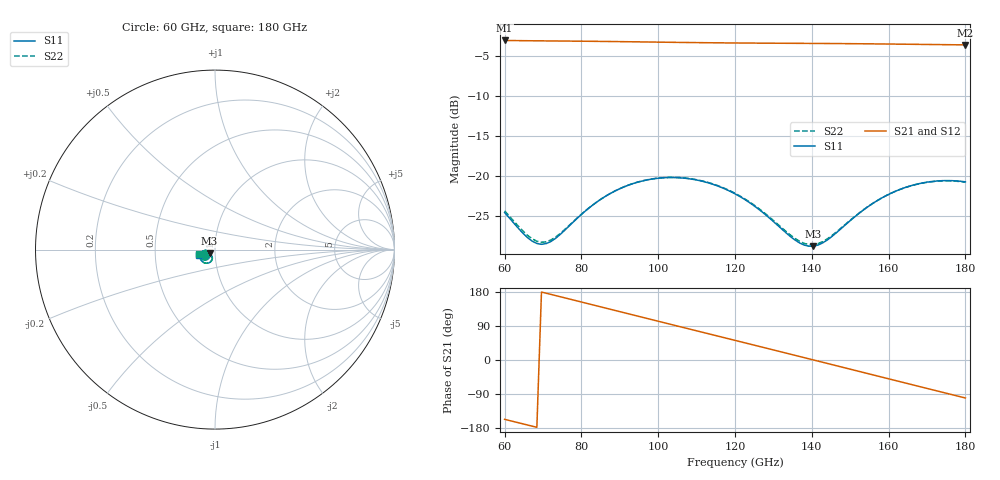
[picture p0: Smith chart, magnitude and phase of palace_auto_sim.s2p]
#  GHZ S DB R 50
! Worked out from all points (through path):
!   101 points, 60 GHz to 180 GHz, reference 50 ohm
!   highest |S21| = -3.08 dB at 60 GHz (marker M1); lowest = -3.6 dB at 180 GHz (marker M2)
!   group delay of S21, straight-line fit = 7.03 ps
!   lowest |S11| = -28.8 dB at 140.4 GHz (marker M3), VSWR 1.08, Z = 47 - j1.85 ohm
!   |S11| at or under -10 dB: start of sweep to end of sweep
!   |S22| runs from -28.6 to -20.2 dB; largest |S21 - S12| = 1.2e-13
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60  -24.60 -154.4  -3.08 -156.6  -3.08 -156.6  -24.39 -154.3
66  -27.75 -144.2  -3.11 -171.6  -3.11 -171.6  -27.46 -144.8
69.6  -28.58 -129.5  -3.13 179.3  -3.13 179.3  -28.32 -130.8
73.2  -27.86 -115.3  -3.14 170.2  -3.14 170.2  -27.70 -117.0
80.4  -24.67 -106.1  -3.17 152.0  -3.17 152.0  -24.65 -107.3
85.2  -22.90 -109.4  -3.20 139.8  -3.20 139.8  -22.89 -110.3
91.2  -21.38 -117.9  -3.23 124.6  -3.23 124.6  -21.37 -118.5
100.8  -20.28 -135.1  -3.29 100.3  -3.29 100.3  -20.26 -135.4
105.6  -20.26 -144.1  -3.32 88.1  -3.32 88.1  -20.23 -144.3
110.4  -20.57 -152.9  -3.35 76.0  -3.35 76.0  -20.54 -153.0
120  -22.26 -167.9  -3.39 51.8  -3.39 51.8  -22.20 -167.8
126  -24.13 -173.4  -3.41 36.7  -3.41 36.7  -24.03 -173.2
130.8  -26.07 -172.8  -3.43 24.6  -3.43 24.6  -25.93 -172.7
136.8  -28.40 -160.6  -3.44 9.4  -3.44 9.4  -28.20 -160.9
140.4  -28.81 -147.2  -3.45 0.2  -3.45 0.2  -28.62 -148.0
144  -28.05 -134.8  -3.46 -8.9  -3.46 -8.9  -27.91 -135.9
150  -25.62 -125.5  -3.48 -24.2  -3.48 -24.2  -25.57 -126.6
154.8  -23.82 -126.2  -3.50 -36.4  -3.50 -36.4  -23.80 -127.1
160.8  -22.15 -132.2  -3.53 -51.7  -3.53 -51.7  -22.15 -132.9
170.4  -20.78 -146.5  -3.58 -76.0  -3.58 -76.0  -20.80 -147.1
175.2  -20.61 -154.4  -3.61 -88.1  -3.61 -88.1  -20.64 -155.0
180  -20.77 -162.2  -3.63 -100.3  -3.63 -100.3  -20.81 -162.8
